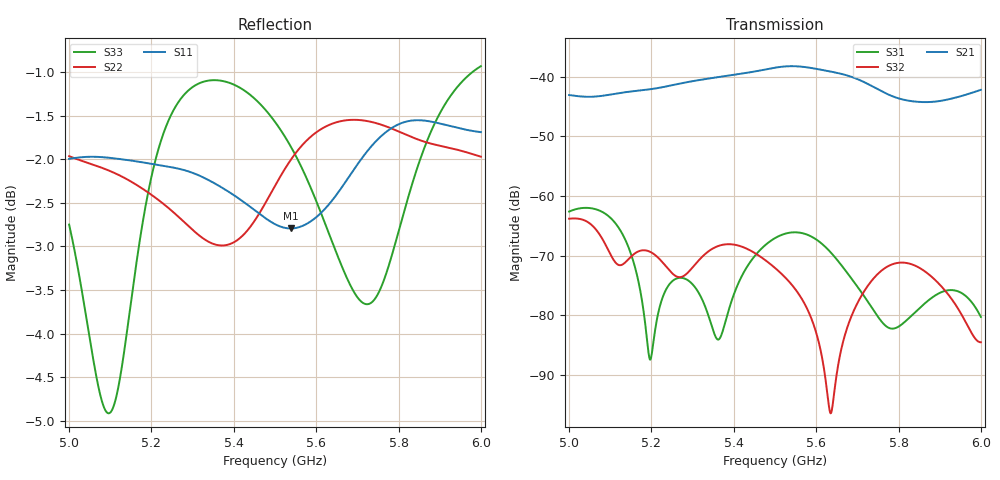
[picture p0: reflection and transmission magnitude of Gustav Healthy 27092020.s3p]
! TOUCHSTONE file generated by CST MICROWAVE STUDIO
! Date and time: Mon Sep 28 11:50:39 2020
! Project name: Gustave Lung Lower Right.cst
! Header version: 2018
! Port assignment regex: !\s*Touchstone port\s*([0-9]+)\s*=\s*(CST MWS port|CST DS port)\s*([0-9]+|Zmin|Zmax)\s*\(\"(.*)\"\)(\s*mode\s*([0-9]+))?.*
! Touchstone port assignment:
! Touchstone port 1 = CST MWS port 1 ("")
! Touchstone port 2 = CST MWS port 2 ("")
! Touchstone port 3 = CST MWS port 3 ("")
# GHz S RI R 50
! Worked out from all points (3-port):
!   1001 points, 5 GHz to 6 GHz, reference 50 ohm
!   strongest paths, dB at 5 GHz, 5.25 GHz, 5.5 GHz, 5.75 GHz, 6 GHz:
!     S21: -43.1, -41.4, -38.5, -42.1, -42.2
!     S32: -63.8, -72.9, -72.0, -73.0, -84.5
!     S31: -62.6, -74.3, -67.0, -80.2, -80.3
!   lowest |S11| = -2.8 dB at 5.538 GHz (marker M1), VSWR 6.27, Z = 310 + j34 ohm
!   |S11| at or under -10 dB: nowhere
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5  0.7946 -0.0113  0.00508 -0.00492  -0.00037 -0.000618
   0.00507 -0.00488  0.7962 -0.047  -0.000413 -0.0005
   -0.000352 -0.000653  -0.00042 -0.000492  0.7108 -0.1603
5.113  0.7949 -0.0152  -0.00468 -0.00553  8.74e-05 0.000601
       -0.00467 -0.00552  0.7782 -0.044  -0.000123 0.000243
       7.64e-05 0.000584  -0.000122 0.000248  0.5757 0.0569
5.188  0.7902 -0.017  -0.00767 0.00138  5.98e-05 2.14e-06
       -0.00768 0.00139  0.7602 -0.0414  0.000127 0.000326
       6.78e-05 -4.7e-06  0.000125 0.000326  0.732 0.1719
5.27  0.7838 -0.0193  -0.00282 0.00833  0.000201 1.71e-05
      -0.00283 0.00833  0.734 -0.0288  0.000204 4.88e-05
      0.000206 2.02e-05  0.000204 4.74e-05  0.852 0.1137
5.381  0.7623 -0.0208  0.00886 0.00504  7.86e-05 -4.29e-05
       0.00885 0.00504  0.7086 0.028  6.65e-05 -0.000388
       8.21e-05 -4.18e-05  6.59e-05 -0.000389  0.8797 0.0128
5.5  0.7291 0.00649  0.00756 -0.00924  -0.000409 -0.000179
     0.00756 -0.00924  0.7614 0.0921  -0.000199 0.00015
     -0.000406 -0.000181  -0.0002 0.00015  0.8322 -0.0625
5.538  0.7245 0.026  0.00246 -0.012  -0.000423 0.00025
       0.00246 -0.012  0.7881 0.0922  -3.94e-05 0.00018
       -0.000427 0.000249  -3.89e-05 0.000181  0.8044 -0.0756
5.681  0.7719 0.0889  -0.0101 -0.000829  0.000113 -0.000182
       -0.0101 -0.000827  0.8354 0.0442  -6.99e-05 5.76e-05
       0.000118 -0.000179  -6.94e-05 5.64e-05  0.6736 -0.025
5.746  0.8094 0.0842  -0.00671 0.00435  -9.03e-05 -3.52e-05
       -0.00671 0.00435  0.8327 0.0228  0.000107 0.000186
       -9.69e-05 -3.18e-05  0.000108 0.000187  0.6589 0.0679
6  0.8229 0.0226  0.00474 0.00614  -7.41e-05 8.6e-05
   0.00473 0.00618  0.797 0.00703  -5.78e-05 1.7e-06
   -5.58e-05 7.94e-05  -5.93e-05 -4.62e-06  0.895 0.0754
